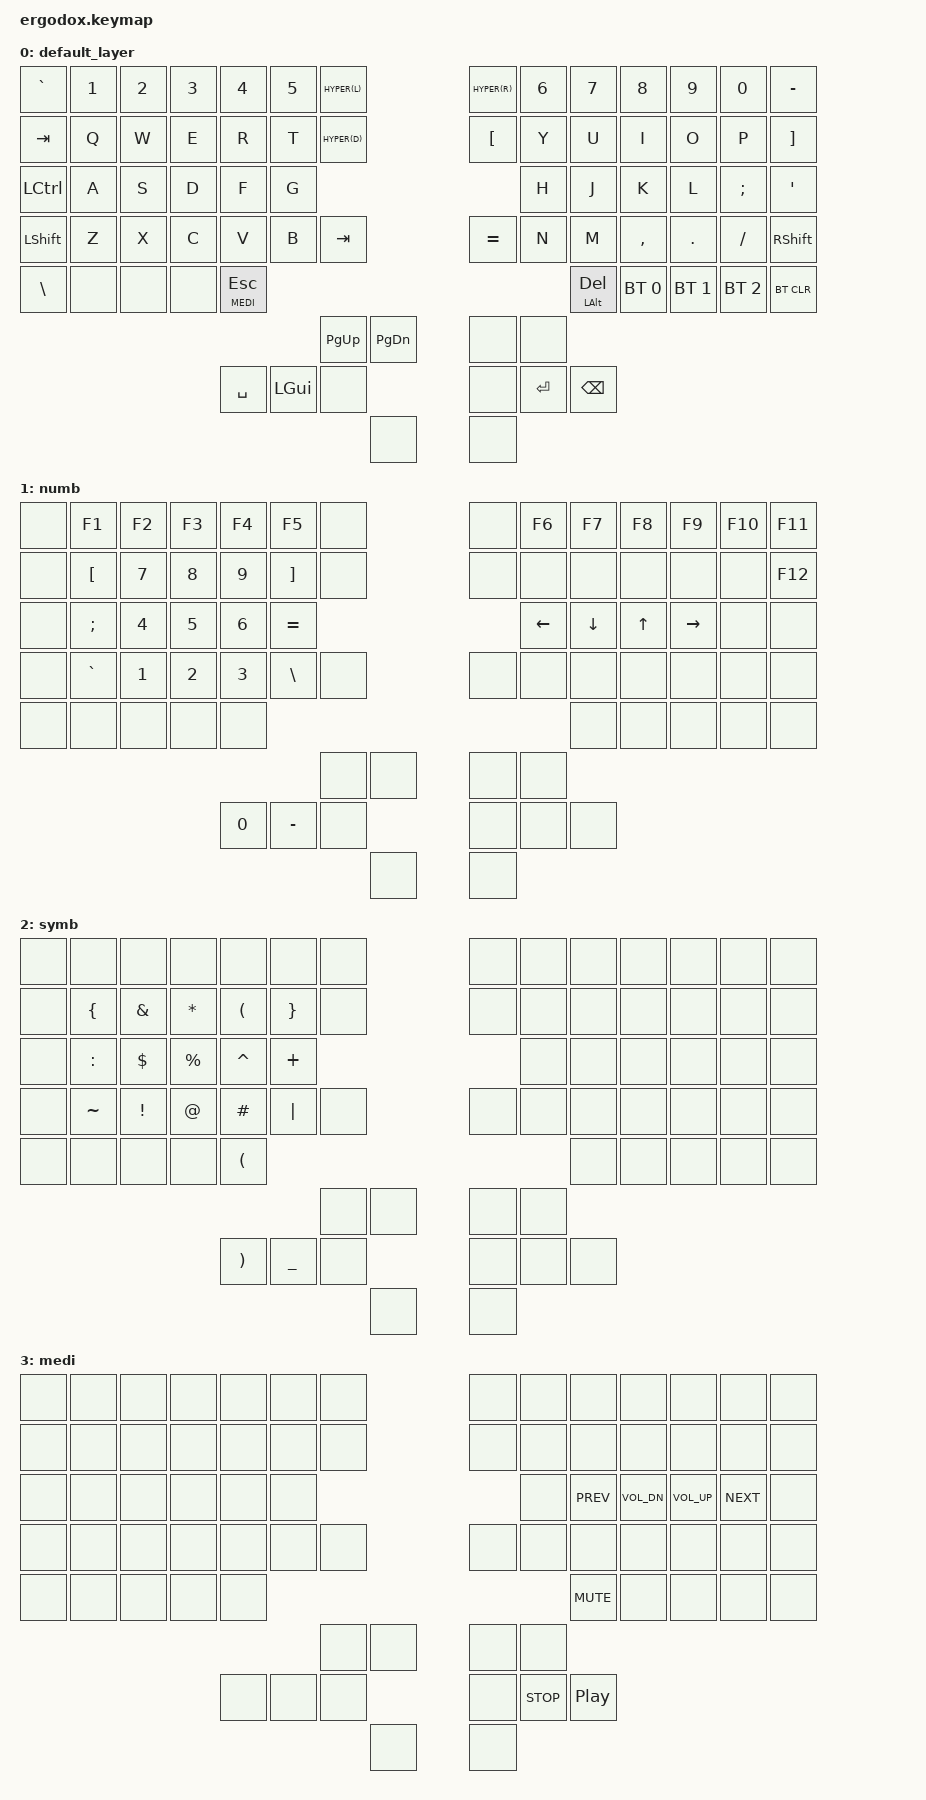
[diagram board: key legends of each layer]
/*
 * Copyright (c) 2020 The ZMK Contributors
 *
 * SPDX-License-Identifier: MIT
 */

#include <behaviors.dtsi>
#include <dt-bindings/zmk/keys.h>
#include <dt-bindings/zmk/bt.h>
#include <dt-bindings/zmk/outputs.h>

#define HYPER(key) LS(LC(LA(LG(key))))

#define BASE 0
#define NUMB 1
#define SYMB 2
#define MEDI 3

/ {
    behaviors {
        hm: homerow_mods {
            compatible = "zmk,behavior-hold-tap";
            label = "HOMEROW_MODS";
            #binding-cells = <2>;
            tapping-term-ms = <250>;
            quick-tap-ms = <200>;
            flavor = "tap-preferred";
            global-quick-tap;
            bindings = <&kp>, <&kp>;
        };
        mlt: my_layer_tap {
            compatible = "zmk,behavior-hold-tap";
            label = "MY_LAYER_TAP";
            #binding-cells = <2>;
            tapping-term-ms = <200>;
            quick-tap-ms = <125>;
            flavor = "tap-preferred";
            global-quick-tap;
            bindings = <&mo>, <&kp>;
        };
    };

    keymap {
        compatible = "zmk,keymap";

        default_layer {
			bindings = <
            &kp GRAVE   &kp N1      &kp   N2    &kp   N3     &kp    N4     &kp N5  &kp HYPER(L)    &kp HYPER(R) &kp  N6 &kp    N7     &kp     N8    &kp N9  &kp  N0  &kp MINUS
            &kp TAB     &kp  Q      &kp    W    &kp    E     &kp     R     &kp  T  &kp HYPER(D)    &kp LBKT &kp  Y  &kp     U     &kp      I    &kp  O  &kp  P  &kp RBKT
            &kp LCTRL   &kp A       &kp    S    &kp    D     &kp     F     &kp  G                      &kp  H  &kp J &kp K &kp L &kp SEMI &kp SQT
            &kp LSHFT   &kp  Z      &kp  X    &kp  C  &kp  V  &kp  B  &kp TAB                     &kp EQUAL &kp N &kp M &kp COMMA &kp DOT &kp FSLH &kp RSHFT
            &kp BSLH    &none   &none     &none   &lt MEDI ESC                                      &mt LALT DEL &bt BT_SEL 0 &bt BT_SEL 1 &bt BT_SEL 2 &bt BT_CLR
                                                &kp PG_UP  &kp PG_DN               &none &none
                                        &kp SPACE &kp LGUI  &none                   &none  &kp RET &kp BSPC
                                                            &none                  &none
			>;
        };

        numb {
			bindings = <
            &none &kp F1    &kp F2 &kp F3 &kp F4 &kp F5   &none        &none &kp F6 &kp F7 &kp F8 &kp F9 &kp F10 &kp F11
            &none &kp LBKT  &kp N7 &kp N8 &kp N9 &kp RBKT &none        &none &none &none &none &none &none &kp F12
            &none &kp SEMI  &kp N4 &kp N5 &kp N6 &kp EQUAL                &kp LEFT &kp DOWN &kp UP &kp RIGHT &none &none
            &none &kp GRAVE &kp N1 &kp N2 &kp N3 &kp BSLH &none        &none &none &none &none &none &none &none
            &none &none &none &none &none                                          &none &none &none &none &none
                                               &none &none             &none &none
                                    &kp N0 &kp MINUS &none             &none &none &none
                                                     &none             &none
			>;
        };

        symb {
			bindings = <
            &none &none &none &none &none &none &none                      &none &none &none &none &none &none &none
            &none &kp LBRC  &kp AMPS &kp STAR  &kp LPAR  &kp RBRC &none    &none &none &none &none &none &none &none
            &none &kp COLON &kp DLLR &kp PRCNT &kp CARET &kp PLUS                &none &none &none &none &none &none
            &none &kp TILDE &kp EXCL &kp   AT  &kp HASH  &kp PIPE &none    &none &none &none &none &none &none &none
            &none &none &none &none &kp LPAR                                           &none &none &none &none &none
                                                 &none &none                &none &none
                                    &kp RPAR &kp UNDER &none                &none &none &none
                                                       &none                &none
			>;
        };

        medi {
			bindings = <
            &none &none &none &none &none &none &none    &none &none &none &none &none &none &none
            &none &none &none &none &none &none &none    &none &none &none &none &none &none &none
            &none &none &none &none &none &none                &none &kp C_PREV &kp C_VOL_DN &kp C_VOL_UP &kp C_NEXT &none
            &none &none &none &none &none &none &none    &none &none &none &none &none &none &none
            &none &none &none &none &none                            &kp C_MUTE &none &none &none &none
                                          &none &none    &none &none
                                    &none &none &none    &none &kp C_STOP  &kp C_PP
                                                &none    &none
			>;
        };

        /*
        empty {
			bindings = <
            &none &none &none &none &none &none &none    &none &none &none &none &none &none &none
            &none &none &none &none &none &none &none    &none &none &none &none &none &none &none
            &none &none &none &none &none &none                &none &none &none &none &none &none
            &none &none &none &none &none &none &none    &none &none &none &none &none &none &none
            &none &none &none &none &none                            &none &none &none &none &none
                                          &none &none    &none &none
                                    &none &none &none    &none &none &none
                                                &none    &none
			>;
        };
        */
    };
};
